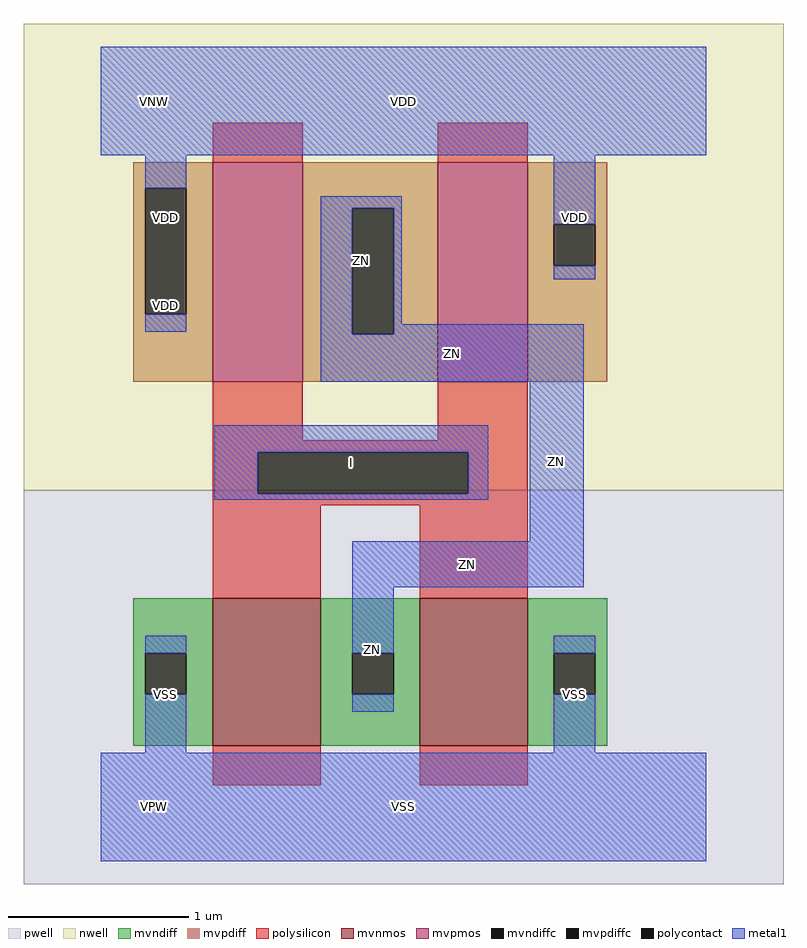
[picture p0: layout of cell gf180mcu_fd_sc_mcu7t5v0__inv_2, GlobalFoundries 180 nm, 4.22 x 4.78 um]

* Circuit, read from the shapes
.subckt gf180mcu_fd_sc_mcu7t5v0__inv_2 I ZN VDD VNW VPW VSS
XM1 ZN I VSS VPW nfet_06v0 w=0.82u l=0.6u m=2
XM2 ZN I VDD VNW pfet_06v0 w=1.22u l=0.5u m=2
.ends

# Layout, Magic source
magic
tech gf180mcuD
magscale 1 10
<< nwell >>
rect -86 352 758 870
<< pwell >>
rect -86 -86 758 352
<< mvnmos >>
rect 124 68 244 232
rect 354 68 474 232
<< mvpmos >>
rect 124 472 224 716
rect 374 472 474 716
<< mvndiff >>
rect 36 171 124 232
rect 36 125 49 171
rect 95 125 124 171
rect 36 68 124 125
rect 244 171 354 232
rect 244 125 279 171
rect 325 125 354 171
rect 244 68 354 125
rect 474 171 562 232
rect 474 125 503 171
rect 549 125 562 171
rect 474 68 562 125
<< mvpdiff >>
rect 36 687 124 716
rect 36 547 49 687
rect 95 547 124 687
rect 36 472 124 547
rect 224 665 374 716
rect 224 525 279 665
rect 325 525 374 665
rect 224 472 374 525
rect 474 647 562 716
rect 474 601 503 647
rect 549 601 562 647
rect 474 472 562 601
<< mvndiffc >>
rect 49 125 95 171
rect 279 125 325 171
rect 503 125 549 171
<< mvpdiffc >>
rect 49 547 95 687
rect 279 525 325 665
rect 503 601 549 647
<< polysilicon >>
rect 124 716 224 760
rect 374 716 474 760
rect 124 407 224 472
rect 374 407 474 472
rect 124 394 474 407
rect 124 348 174 394
rect 408 348 474 394
rect 124 335 474 348
rect 124 232 244 335
rect 354 232 474 335
rect 124 24 244 68
rect 354 24 474 68
<< polycontact >>
rect 174 348 408 394
<< metal1 >>
rect 0 724 672 844
rect 49 687 95 724
rect 49 528 95 547
rect 244 665 334 678
rect 244 525 279 665
rect 325 536 334 665
rect 503 647 549 724
rect 503 586 549 601
rect 325 525 536 536
rect 244 472 536 525
rect 126 394 430 424
rect 126 348 174 394
rect 408 348 430 394
rect 126 341 430 348
rect 476 295 536 472
rect 279 244 536 295
rect 49 171 95 190
rect 49 60 95 125
rect 279 171 325 244
rect 279 106 325 125
rect 503 171 549 190
rect 503 60 549 125
rect 0 -60 672 60
<< labels >>
flabel metal1 s 503 60 549 190 0 FreeSans 400 0 0 0 VSS
port 6 nsew ground bidirectional abutment
flabel metal1 s 244 536 334 678 0 FreeSans 400 0 0 0 ZN
port 2 nsew default output
flabel metal1 s 126 341 430 424 0 FreeSans 400 0 0 0 I
port 1 nsew default input
flabel metal1 s 0 724 672 844 0 FreeSans 400 0 0 0 VDD
port 3 nsew power bidirectional abutment
flabel nwell s 10 734 110 834 0 FreeSans 400 0 0 0 VNW
port 4 nsew power bidirectional
flabel pwell s 10 -50 110 50 0 FreeSans 400 0 0 0 VPW
port 5 nsew ground bidirectional
rlabel metal1 s 244 472 536 536 1 ZN
port 2 nsew default output
rlabel metal1 s 476 295 536 472 1 ZN
port 2 nsew default output
rlabel metal1 s 279 244 536 295 1 ZN
port 2 nsew default output
rlabel metal1 s 279 106 325 244 1 ZN
port 2 nsew default output
rlabel metal1 s 503 586 549 724 1 VDD
port 3 nsew power bidirectional abutment
rlabel metal1 s 49 586 95 724 1 VDD
port 3 nsew power bidirectional abutment
rlabel metal1 s 49 528 95 586 1 VDD
port 3 nsew power bidirectional abutment
rlabel metal1 s 49 60 95 190 1 VSS
port 6 nsew ground bidirectional abutment
rlabel metal1 s 0 -60 672 60 1 VSS
port 6 nsew ground bidirectional abutment
<< properties >>
string FIXED_BBOX 0 0 672 784
string GDS_END 478958
string GDS_FILE $PDKPATH/libs.ref/gf180mcu_fd_sc_mcu7t5v0/gds/gf180mcu_fd_sc_mcu7t5v0.gds
string GDS_START 476394
string LEFclass core
string LEFsite GF018hv5v_mcu_sc7
string LEFsymmetry X Y
string MASKHINTS_DUALGATE -56 764 44 840 554 764 728 840 -56 424 -12 764 610 424 728 764 -56 280 44 424 554 280 728 424 -56 20 -12 280 610 20 728 280 -56 -56 44 20 554 -56 728 20
string MASKHINTS_NPLUS -40 278 712 352 -40 264 78 278 520 264 712 278 -40 36 4 264 594 36 712 264 -40 22 78 36 520 22 712 36 -40 -40 712 22
string MASKHINTS_PPLUS -40 762 712 824 -40 748 78 762 520 748 712 762 -40 440 4 748 594 440 712 748 -40 426 78 440 520 426 712 440 -40 352 712 426
<< end >>
